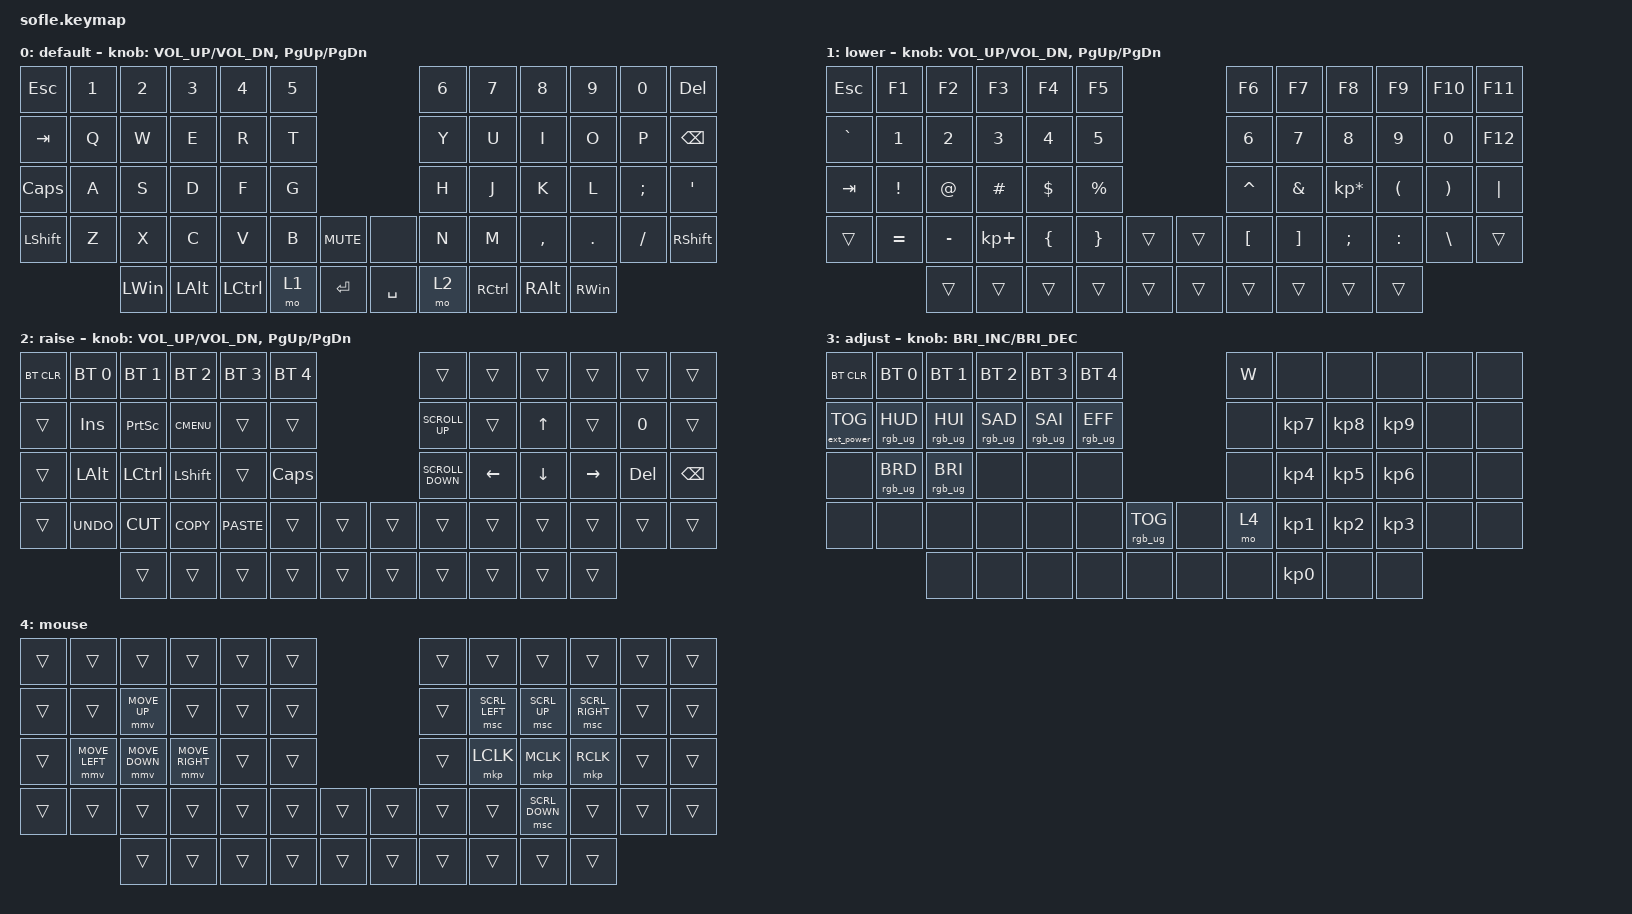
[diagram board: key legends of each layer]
/*
 * Copyright (c) 2020 The ZMK Contributors
 *
 * SPDX-License-Identifier: MIT
 */

#include <behaviors.dtsi>
#include <dt-bindings/zmk/bt.h>
#include <dt-bindings/zmk/ext_power.h>
#include <dt-bindings/zmk/keys.h>
#include <dt-bindings/zmk/pointing.h>
#include <dt-bindings/zmk/rgb.h>

#define BASE 0
#define LOWER 1
#define RAISE 2
#define ADJUST 3

/ {
    // Activate ADJUST layer by pressing raise and lower

    conditional_layers {
        compatible = "zmk,conditional-layers";

        adjust_layer {
            if-layers = <1 2>;
            then-layer = <3>;
        };
    };

    keymap {
        compatible = "zmk,keymap";

        default_layer {
            label = "default";

            // ------------------------------------------------------------------------------------------------------------
            // |   `   |  1  |  2  |  3   |  4   |  5   |                   |  6   |  7    |  8    |  9   |   0   |       |
            // |  ESC  |  Q  |  W  |  E   |  R   |  T   |                   |  Y   |  U    |  I    |  O   |   P   | BKSPC |
            // |  TAB  |  A  |  S  |  D   |  F   |  G   |                   |  H   |  J    |  K    |  L   |   ;   |   '   |
            // | SHIFT |  Z  |  X  |  C   |  V   |  B   |  MUTE  |  |       |  N   |  M    |  ,    |  .   |   /   | SHIFT |
            //               | GUI | ALT  | CTRL | LOWER|  ENTER |  | SPACE | RAISE| CTRL  | ALT   | GUI  |

            bindings = <
&kp ESC         &kp N1  &kp N2        &kp N3    &kp N4     &kp N5                           &kp N6  &kp N7             &kp N8         &kp N9         &kp N0    &kp DEL
&kp TAB         &kp Q   &kp W         &kp E     &kp R      &kp T                            &kp Y   &kp U              &kp I          &kp O          &kp P     &kp BACKSPACE
&kp CLCK        &kp A   &kp S         &kp D     &kp F      &kp G                            &kp H   &kp J              &kp K          &kp L          &kp SEMI  &kp SQT
&kp LEFT_SHIFT  &kp Z   &kp X         &kp C     &kp V      &kp B   &kp C_MUTE    &none      &kp N   &kp M              &kp COMMA      &kp DOT        &kp FSLH  &kp RSHFT
                        &kp LEFT_WIN  &kp LALT  &kp LCTRL  &mo 1   &kp ENTER     &kp SPACE  &mo 2   &kp RIGHT_CONTROL  &kp RIGHT_ALT  &kp RIGHT_WIN
            >;

            sensor-bindings = <&inc_dec_kp C_VOL_UP C_VOL_DN &inc_dec_kp PG_UP PG_DN>;
        };

        lower_layer {
            label = "lower";

            // TODO: Some binds are waiting for shifted keycode support.
            // ------------------------------------------------------------------------------------------------------------
            // |       |  F1 |  F2 |  F3  |  F4  |  F5  |                   |  F6  |  F7   |  F8   |  F9  |  F10  |  F11  |
            // |   `   |  1  |  2  |  3   |  4   |  5   |                   |  6   |  7    |  8    |  9   |   0   |  F12  |
            // |       |  !  |  @  |  #   |  $   |  %   |                   |  ^   |  &    |  *    |  (   |   )   |   |   |
            // |       |  =  |  -  |  +   |  {   |  }   |        |  |       |  [   |  ]    |  ;    |  :   |   \   |       |
            //               |     |      |      |      |        |  |       |      |       |       |      |

            bindings = <
&kp ESC    &kp F1     &kp F2     &kp F3       &kp F4    &kp F5                       &kp F6     &kp F7    &kp F8           &kp F9     &kp F10   &kp F11
&kp GRAVE  &kp N1     &kp N2     &kp N3       &kp N4    &kp N5                       &kp N6     &kp N7    &kp N8           &kp N9     &kp N0    &kp F12
&kp TAB    &kp EXCL   &kp AT     &kp HASH     &kp DLLR  &kp PRCNT                    &kp CARET  &kp AMPS  &kp KP_MULTIPLY  &kp LPAR   &kp RPAR  &kp PIPE
&trans     &kp EQUAL  &kp MINUS  &kp KP_PLUS  &kp LBRC  &kp RBRC   &trans    &trans  &kp LBKT   &kp RBKT  &kp SEMI         &kp COLON  &kp BSLH  &trans
                      &trans     &trans       &trans    &trans     &trans    &trans  &trans     &trans    &trans           &trans
            >;

            sensor-bindings = <&inc_dec_kp C_VOL_UP C_VOL_DN &inc_dec_kp PG_UP PG_DN>;
        };

        raise_layer {
            label = "raise";

            // ------------------------------------------------------------------------------------------------------------
            // | BTCLR | BT1  | BT2  |  BT3  |  BT4  |  BT5 |                |      |      |       |      |       |       |
            // |       | INS  | PSCR | GUI   |       |      |                | PGUP |      |   ^   |      |       |       |
            // |       | ALT  | CTRL | SHIFT |       | CAPS |                | PGDN |   <- |   v   |  ->  |  DEL  | BKSPC |
            // |       | UNDO | CUT  | COPY  | PASTE |      |      |  |      |      |      |       |      |       |       |
            //                |      |       |       |      |      |  |      |      |      |       |      |

            bindings = <
&bt BT_CLR  &bt BT_SEL 0  &bt BT_SEL 1  &bt BT_SEL 2  &bt BT_SEL 3  &bt BT_SEL 4                    &trans             &trans    &trans    &trans     &trans   &trans
&trans      &kp INS       &kp PSCRN     &kp K_CMENU   &trans        &trans                          &kp K_SCROLL_UP    &trans    &kp UP    &trans     &kp N0   &trans
&trans      &kp LALT      &kp LCTRL     &kp LSHFT     &trans        &kp CLCK                        &kp K_SCROLL_DOWN  &kp LEFT  &kp DOWN  &kp RIGHT  &kp DEL  &kp BSPC
&trans      &kp K_UNDO    &kp K_CUT     &kp K_COPY    &kp K_PASTE   &trans        &trans    &trans  &trans             &trans    &trans    &trans     &trans   &trans
                          &trans        &trans        &trans        &trans        &trans    &trans  &trans             &trans    &trans    &trans
            >;

            sensor-bindings = <&inc_dec_kp C_VOL_UP C_VOL_DN &inc_dec_kp PG_UP PG_DN>;
        };

        adjust_layer {
            // ----------------------------------------------------------------------------------------------------------------------------
            // | BTCLR  |  BT1    |  BT2    |   BT3   |   BT4   |   BT5   |                  |      |      |       |      |       |       |
            // | EXTPWR | RGB_HUD | RGB_HUI | RGB_SAD | RGB_SAI | RGB_EFF |                  |      |      |       |      |       |       |
            // |        | RGB_BRD | RGB_BRI |         |         |         |                  |      |      |       |      |       |       |
            // |        |         |         |         |         |         | RGB_TOG | |      |      |      |       |      |       |       |
            //                    |         |         |         |         |         | |      |      |      |       |      |

            label = "adjust";
            bindings = <
&bt BT_CLR         &bt BT_SEL 0     &bt BT_SEL 1     &bt BT_SEL 2     &bt BT_SEL 3     &bt BT_SEL 4                               &kp W  &none            &none            &none            &none  &none
&ext_power EP_TOG  &rgb_ug RGB_HUD  &rgb_ug RGB_HUI  &rgb_ug RGB_SAD  &rgb_ug RGB_SAI  &rgb_ug RGB_EFF                            &none  &kp KP_NUMBER_7  &kp KP_NUMBER_8  &kp KP_NUMBER_9  &none  &none
&none              &rgb_ug RGB_BRD  &rgb_ug RGB_BRI  &none            &none            &none                                      &none  &kp KP_NUMBER_4  &kp KP_NUMBER_5  &kp KP_NUMBER_6  &none  &none
&none              &none            &none            &none            &none            &none            &rgb_ug RGB_TOG    &none  &mo 4  &kp KP_N1        &kp KP_NUMBER_2  &kp KP_NUMBER_3  &none  &none
                                    &none            &none            &none            &none            &none              &none  &none  &kp KP_NUMBER_0  &none            &none
            >;

            sensor-bindings = <&inc_dec_kp C_BRI_INC C_BRIGHTNESS_DEC>;
        };

        mouse_layer {
            bindings = <
&trans  &trans          &trans          &trans           &trans  &trans                    &trans  &trans          &trans          &trans           &trans  &trans
&trans  &trans          &mmv MOVE_UP    &trans           &trans  &trans                    &trans  &msc SCRL_LEFT  &msc SCRL_UP    &msc SCRL_RIGHT  &trans  &trans
&trans  &mmv MOVE_LEFT  &mmv MOVE_DOWN  &mmv MOVE_RIGHT  &trans  &trans                    &trans  &mkp LCLK       &mkp MCLK       &mkp RCLK        &trans  &trans
&trans  &trans          &trans          &trans           &trans  &trans  &trans    &trans  &trans  &trans          &msc SCRL_DOWN  &trans           &trans  &trans
                        &trans          &trans           &trans  &trans  &trans    &trans  &trans  &trans          &trans          &trans
            >;

            label = "mouse";
        };
    };
};
